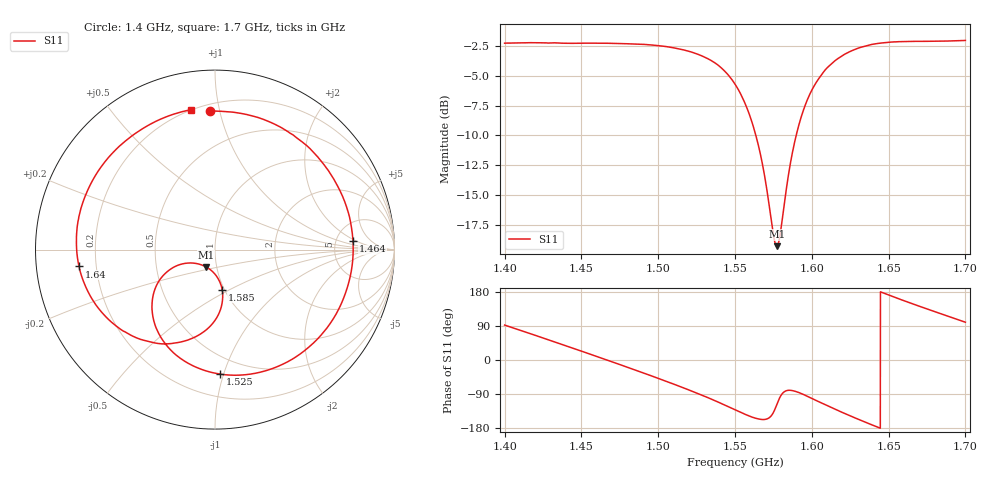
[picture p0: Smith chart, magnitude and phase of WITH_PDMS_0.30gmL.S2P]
!Keysight Technologies,E5063A,MY54503975,A.05.08
!Date: Fri Mar 07 06:59:24 2025
!Data & Calibration Information:
!Freq	S11:NONE(--)	S21:RESPT(ON)	S12:NONE(--)	S22:NONE(--)
# Hz S RI R 50
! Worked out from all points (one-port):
!   3001 points, 1.4 GHz to 1.7 GHz, reference 50 ohm
!   lowest |S11| = -19.3 dB at 1.577 GHz (marker M1), VSWR 1.24, Z = 44.4 - j8.64 ohm
!   |S11| at or under -10 dB: 1.564 GHz to 1.59 GHz (26.25 MHz wide, 1.66 % of centre)
!   S11 on the Smith chart (normalised r, x): 1.4 GHz: 0.25, +0.93; 1.464 GHz: 7.30, +1.70; 1.525 GHz: 0.36, -0.97; 1.585 GHz: 0.98, -0.46; 1.64 GHz: 0.13, -0.06; 1.7 GHz: 0.20, +0.82
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1.4e9  -0.0294 0.7699  -0 -0  0 0  0 0
1.4225e9  0.3685 0.6802  0 -0  0 0  0 0
1.45e9  0.7066 0.3062  -0 0  0 0  0 0
1.4641e9  0.7688 0.0472  -0 0  0 0  0 0
1.4822e9  0.7085 -0.2904  -0 0  0 0  0 0
1.5e9  0.4997 -0.5625  0 -0  0 0  0 0
1.5132e9  0.2684 -0.6789  0 0  0 0  0 0
1.5253e9  0.0291 -0.6937  0 0  0 0  0 0
1.5373e9  -0.1956 -0.6039  0 0  0 0  0 0
1.55e9  -0.3427 -0.3899  0 -0  0 0  0 0
1.5641e9  -0.2771 -0.1327  0 0  0 0  0 0
1.5772e9  -0.0507 -0.0961  0 0  0 0  0 0
1.5853e9  0.0399 -0.2227  0 0  0 0  0 0
1.5919e9  0.0222 -0.3552  0 0  0 0  0 0
1.6e9  -0.0972 -0.4797  0 -0  0 0  0 0
1.6086e9  -0.2767 -0.5256  0 -0  0 0  0 0
1.617e9  -0.4551 -0.4837  -0 0  0 0  0 0
1.6292e9  -0.66 -0.3131  -0 0  0 0  0 0
1.6402e9  -0.7578 -0.0941  -0 -0  0 0  0 0
1.65e9  -0.7691 0.1142  -0 -0  0 0  0 0
1.6761e9  -0.5368 0.5724  -0 -0  0 0  0 0
1.7e9  -0.133 0.7797  -0 -0  0 0  0 0
